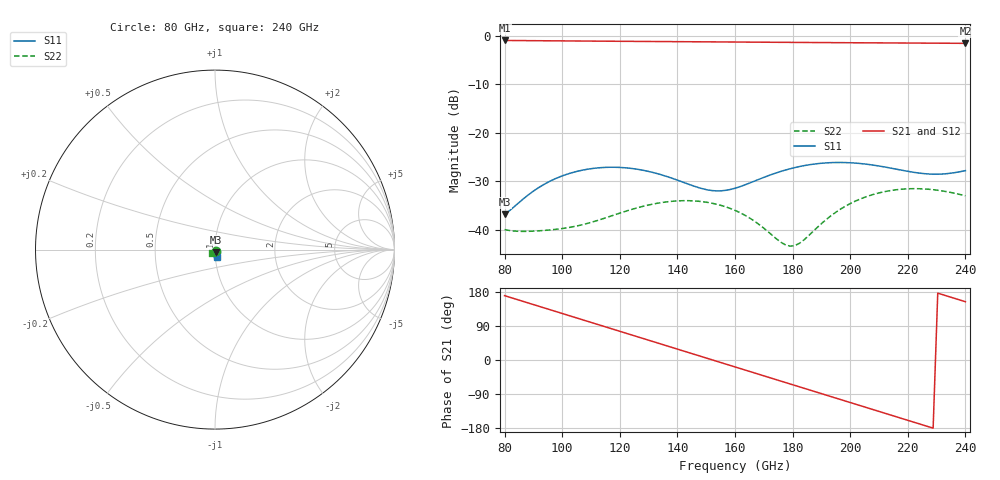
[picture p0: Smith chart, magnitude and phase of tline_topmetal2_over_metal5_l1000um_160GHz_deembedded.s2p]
! Created with skrf 2.0.1 (http://scikit-rf.org).
# GHz S DB R 50.0
!freq dBS11 angS11 dBS21 angS21 dBS12 angS12 dBS22 angS22
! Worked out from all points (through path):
!   101 points, 80 GHz to 240 GHz, reference 50 ohm
!   highest |S21| = -0.94 dB at 80 GHz (marker M1); lowest = -1.5 dB at 240 GHz (marker M2)
!   group delay of S21, straight-line fit = 6.53 ps
!   lowest |S11| = -36.8 dB at 80 GHz (marker M3), VSWR 1.03, Z = 50.7 - j1.29 ohm
!   |S11| at or under -10 dB: start of sweep to end of sweep
!   |S22| runs from -43.4 to -31.5 dB; largest |S21 - S12| = 9.8e-14
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80  -36.84 -62.0  -0.94 169.8  -0.94 169.8  -39.99 -71.2
92.8  -30.97 -47.7  -1.00 139.7  -1.00 139.7  -40.21 -50.0
100.8  -28.74 -56.0  -1.03 120.9  -1.03 120.9  -39.71 -41.4
107.2  -27.70 -64.8  -1.06 105.8  -1.06 105.8  -38.96 -36.0
113.6  -27.20 -74.0  -1.09 90.8  -1.09 90.8  -37.86 -33.2
120  -27.16 -82.9  -1.11 75.8  -1.11 75.8  -36.60 -34.3
126.4  -27.57 -90.8  -1.14 60.7  -1.14 60.7  -35.45 -39.4
134.4  -28.68 -97.9  -1.17 41.9  -1.17 41.9  -34.43 -50.4
147.2  -31.30 -95.6  -1.22 11.8  -1.22 11.8  -34.14 -75.7
153.6  -32.01 -85.5  -1.24 -3.2  -1.24 -3.2  -34.76 -91.6
160  -31.46 -74.2  -1.27 -18.3  -1.27 -18.3  -36.03 -110.1
168  -29.69 -67.4  -1.30 -37.1  -1.30 -37.1  -38.79 -140.1
177.6  -27.69 -69.5  -1.33 -59.6  -1.33 -59.6  -43.18 155.1
182.4  -26.98 -72.9  -1.35 -70.9  -1.35 -70.9  -42.82 107.8
187.2  -26.49 -76.9  -1.37 -82.2  -1.37 -82.2  -40.32 70.6
193.6  -26.17 -82.6  -1.39 -97.2  -1.39 -97.2  -37.02 37.3
200  -26.20 -88.1  -1.41 -112.2  -1.41 -112.2  -34.64 12.0
206.4  -26.55 -92.3  -1.43 -127.2  -1.43 -127.2  -33.04 -10.4
214.4  -27.34 -94.8  -1.46 -146.0  -1.46 -146.0  -31.90 -37.3
227.2  -28.52 -88.9  -1.50 -176.1  -1.50 -176.1  -31.67 -81.6
233.6  -28.45 -82.7  -1.52 168.9  -1.52 168.9  -32.18 -105.9
240  -27.82 -77.6  -1.54 153.8  -1.54 153.8  -33.03 -133.0
